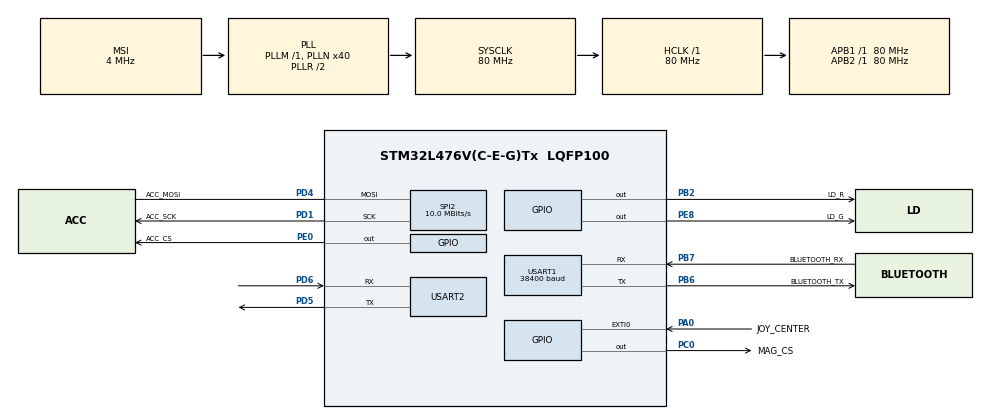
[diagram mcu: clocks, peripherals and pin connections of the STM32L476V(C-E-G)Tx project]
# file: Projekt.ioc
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Dma.Request0=USART2_RX
Dma.Request1=USART2_TX
Dma.Request2=USART1_RX
Dma.Request3=USART1_TX
Dma.USART1_RX.2.Direction=DMA_PERIPH_TO_MEMORY
Dma.USART1_RX.2.Instance=DMA2_Channel7
Dma.USART1_RX.2.MemDataAlignment=DMA_MDATAALIGN_BYTE
Dma.USART1_RX.2.MemInc=DMA_MINC_ENABLE
Dma.USART1_RX.2.Mode=DMA_NORMAL
Dma.USART1_RX.2.PeriphDataAlignment=DMA_PDATAALIGN_BYTE
Dma.USART1_RX.2.PeriphInc=DMA_PINC_DISABLE
Dma.USART1_RX.2.Priority=DMA_PRIORITY_LOW
Dma.USART1_TX.3.Direction=DMA_MEMORY_TO_PERIPH
Dma.USART1_TX.3.Instance=DMA2_Channel6
Dma.USART1_TX.3.MemDataAlignment=DMA_MDATAALIGN_BYTE
Dma.USART1_TX.3.MemInc=DMA_MINC_ENABLE
Dma.USART1_TX.3.Mode=DMA_NORMAL
Dma.USART1_TX.3.PeriphDataAlignment=DMA_PDATAALIGN_BYTE
Dma.USART1_TX.3.PeriphInc=DMA_PINC_DISABLE
Dma.USART1_TX.3.Priority=DMA_PRIORITY_LOW
Dma.USART2_RX.0.Direction=DMA_PERIPH_TO_MEMORY
Dma.USART2_RX.0.Instance=DMA1_Channel6
Dma.USART2_RX.0.MemDataAlignment=DMA_MDATAALIGN_BYTE
Dma.USART2_RX.0.MemInc=DMA_MINC_ENABLE
Dma.USART2_RX.0.Mode=DMA_CIRCULAR
Dma.USART2_RX.0.PeriphDataAlignment=DMA_PDATAALIGN_BYTE
Dma.USART2_RX.0.PeriphInc=DMA_PINC_DISABLE
Dma.USART2_RX.0.Priority=DMA_PRIORITY_LOW
Dma.USART2_TX.1.Direction=DMA_MEMORY_TO_PERIPH
Dma.USART2_TX.1.Instance=DMA1_Channel7
Dma.USART2_TX.1.MemDataAlignment=DMA_MDATAALIGN_BYTE
Dma.USART2_TX.1.MemInc=DMA_MINC_ENABLE
Dma.USART2_TX.1.Mode=DMA_CIRCULAR
Dma.USART2_TX.1.PeriphDataAlignment=DMA_PDATAALIGN_BYTE
Dma.USART2_TX.1.PeriphInc=DMA_PINC_DISABLE
Dma.USART2_TX.1.Priority=DMA_PRIORITY_LOW
Mcu.Family=STM32L4
Mcu.Name=STM32L476V(C-E-G)Tx
Mcu.Package=LQFP100
NVIC.DMA1_Channel6_IRQn=true\:0\:0\:false\:false\:true\:false
NVIC.DMA1_Channel7_IRQn=true\:0\:0\:false\:false\:true\:false
NVIC.DMA2_Channel6_IRQn=true\:0\:0\:false\:false\:true\:false
NVIC.DMA2_Channel7_IRQn=true\:0\:0\:false\:false\:true\:false
NVIC.EXTI0_IRQn=true\:0\:0\:false\:false\:true\:true
NVIC.PriorityGroup=NVIC_PRIORITYGROUP_4
NVIC.RCC_IRQn=true\:0\:0\:false\:false\:true\:true
NVIC.USART1_IRQn=true\:0\:0\:false\:false\:true\:true
NVIC.USART2_IRQn=true\:0\:0\:false\:false\:true\:true
PA0.GPIO_Label=JOY_CENTER
PA0.Signal=GPXTI0
PB2.GPIO_Label=LD_R
PB2.Signal=GPIO_Output
PB6.GPIO_Label=BLUETOOTH_TX
PB6.Mode=Asynchronous
PB6.Signal=USART1_TX
PB7.GPIO_Label=BLUETOOTH_RX
PB7.Mode=Asynchronous
PB7.Signal=USART1_RX
PC0.GPIO_Label=MAG_CS
PC0.Signal=GPIO_Output
PC14-OSC32_IN\ (PC14).Mode=LSE-External-Oscillator
PC14-OSC32_IN\ (PC14).Signal=RCC_OSC32_IN
PC15-OSC32_OUT\ (PC15).Mode=LSE-External-Oscillator
PC15-OSC32_OUT\ (PC15).Signal=RCC_OSC32_OUT
PD1.GPIO_Label=ACC_SCK
PD1.GPIO_PuPd=GPIO_NOPULL
PD1.Mode=Simplex_Bidirectional_Master
PD1.Signal=SPI2_SCK
PD4.GPIO_Label=ACC_MOSI
PD4.GPIO_PuPd=GPIO_NOPULL
PD4.Mode=Simplex_Bidirectional_Master
PD4.Signal=SPI2_MOSI
PD5.Mode=Asynchronous
PD5.Signal=USART2_TX
PD6.Mode=Asynchronous
PD6.Signal=USART2_RX
PE0.GPIO_Label=ACC_CS
PE0.Signal=GPIO_Output
PE8.GPIO_Label=LD_G
PE8.Signal=GPIO_Output
PH0-OSC_IN\ (PH0).Mode=HSE-External-Oscillator
PH0-OSC_IN\ (PH0).Signal=RCC_OSC_IN
PH1-OSC_OUT\ (PH1).Mode=HSE-External-Oscillator
PH1-OSC_OUT\ (PH1).Signal=RCC_OSC_OUT
ProjectManager.HeapSize=0x200
ProjectManager.StackSize=0x400
ProjectManager.TargetToolchain=TrueSTUDIO
RCC.ADCFreq_Value=48000000
RCC.AHBFreq_Value=80000000
RCC.APB1Freq_Value=80000000
RCC.APB1TimFreq_Value=80000000
RCC.APB2Freq_Value=80000000
RCC.APB2TimFreq_Value=80000000
RCC.CortexFreq_Value=80000000
RCC.HCLKFreq_Value=80000000
RCC.HSE_VALUE=8000000
RCC.HSI_VALUE=16000000
RCC.MSI_VALUE=4000000
RCC.PLLN=40
RCC.PLLSAI1N=24
RCC.PREFETCH_ENABLE=1
RCC.SYSCLKFreq_VALUE=80000000
RCC.SYSCLKSource=RCC_SYSCLKSOURCE_PLLCLK
RCC.USBFreq_Value=48000000
RCC.VCOOutputFreq_Value=160000000
SPI2.BaudRatePrescaler=SPI_BAUDRATEPRESCALER_8
SPI2.CLKPhase=SPI_PHASE_1EDGE
SPI2.CLKPolarity=SPI_POLARITY_HIGH
SPI2.CRCCalculation=SPI_CRCCALCULATION_DISABLE
SPI2.CalculateBaudRate=10.0 MBits/s
SPI2.DataSize=SPI_DATASIZE_8BIT
SPI2.Direction=SPI_DIRECTION_1LINE
SPI2.Mode=SPI_MODE_MASTER
SPI2.VirtualType=VM_MASTER
USART1.BaudRate=38400
USART1.VirtualMode-Asynchronous=VM_ASYNC
USART1.WordLength=WORDLENGTH_8B
USART2.VirtualMode-Asynchronous=VM_ASYNC
USART2.WordLength=WORDLENGTH_8B
board=32L476GDISCOVERY

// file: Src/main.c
/**
  ******************************************************************************
  * @file           : main.c
  * @brief          : Main program body
  ******************************************************************************
  ** This notice applies to any and all portions of this file
  * that are not between comment pairs USER CODE BEGIN and
  * USER CODE END. Other portions of this file, whether
  * inserted by the user or by software development tools
  * are owned by their respective copyright owners.
  *
  * COPYRIGHT(c) 2018 STMicroelectronics
  *
  * Redistribution and use in source and binary forms, with or without modification,
  * are permitted provided that the following conditions are met:
  *   1. Redistributions of source code must retain the above copyright notice,
  *      this list of conditions and the following disclaimer.
  *   2. Redistributions in binary form must reproduce the above copyright notice,
  *      this list of conditions and the following disclaimer in the documentation
  *      and/or other materials provided with the distribution.
  *   3. Neither the name of STMicroelectronics nor the names of its contributors
  *      may be used to endorse or promote products derived from this software
  *      without specific prior written permission.
  *
  * THIS SOFTWARE IS PROVIDED BY THE COPYRIGHT HOLDERS AND CONTRIBUTORS "AS IS"
  * AND ANY EXPRESS OR IMPLIED WARRANTIES, INCLUDING, BUT NOT LIMITED TO, THE
  * IMPLIED WARRANTIES OF MERCHANTABILITY AND FITNESS FOR A PARTICULAR PURPOSE ARE
  * DISCLAIMED. IN NO EVENT SHALL THE COPYRIGHT HOLDER OR CONTRIBUTORS BE LIABLE
  * FOR ANY DIRECT, INDIRECT, INCIDENTAL, SPECIAL, EXEMPLARY, OR CONSEQUENTIAL
  * DAMAGES (INCLUDING, BUT NOT LIMITED TO, PROCUREMENT OF SUBSTITUTE GOODS OR
  * SERVICES; LOSS OF USE, DATA, OR PROFITS; OR BUSINESS INTERRUPTION) HOWEVER
  * CAUSED AND ON ANY THEORY OF LIABILITY, WHETHER IN CONTRACT, STRICT LIABILITY,
  * OR TORT (INCLUDING NEGLIGENCE OR OTHERWISE) ARISING IN ANY WAY OUT OF THE USE
  * OF THIS SOFTWARE, EVEN IF ADVISED OF THE POSSIBILITY OF SUCH DAMAGE.
  *
  ******************************************************************************
  */
#include "main.h"
#include "stm32l4xx_hal.h"
#include "dma.h"
#include "spi.h"
#include "usart.h"
#include "gpio.h"

/* USER CODE BEGIN Includes */
#include <stdio.h>
#include <math.h>
#include <stm32l476g_discovery_compass.h>
/* USER CODE END Includes */

/* USER CODE BEGIN PV */
/* Private variables ---------------------------------------------------------*/

#define CTRL_REG1_A 0x20
#define CTRL_REG4_A 0x23

#define OUT_X_L_A 0x28
#define OUT_X_H_A 0x29
#define OUT_Y_L_A 0x2A
#define OUT_Y_H_A 0x2B
#define OUT_Z_L_A 0x2C
#define OUT_Z_H_A 0x2D

uint8_t BluetoothData;

struct ACC_Data{
	float XAxis;
	float YAxis;
	float ZAxis;
}Axis_Data;
int8_t Roll=0;
int8_t Pitch=0;

int start=0;

/* USER CODE END PV */

void SystemClock_Config(void);

/* USER CODE BEGIN PFP */
/* Private function prototypes -----------------------------------------------*/
float square(float arg){
	return (arg)*(arg);
}

void HAL_GPIO_EXTI_Callback(uint16_t GPIO_Pin)
{
	uint8_t breaking[2]={0,0};
  if(GPIO_Pin==JOY_CENTER_Pin){
	  if(start==0){
		  HAL_GPIO_WritePin(LD_R_GPIO_Port,LD_R_Pin,GPIO_PIN_SET);
		  start=1;
	  }
	  else {
		  HAL_GPIO_WritePin(LD_R_GPIO_Port,LD_R_Pin,GPIO_PIN_RESET);
		  start=0;
		  HAL_UART_Transmit(&huart1,&breaking,2,50);
	  }
  }
}

void Convert(struct ACC_Data* ptrData,int8_t* ptrRoll,int8_t* ptrPitch){
	float rollAngle = atanf(ptrData->XAxis/(sqrt(square(ptrData->YAxis)+square(ptrData->ZAxis))))*180.0/ M_PI;
	float pitchAngle = atanf(ptrData->YAxis/(sqrt(square(ptrData->XAxis)+square(ptrData->ZAxis))))*180.0/ M_PI;

	*ptrRoll = (int8_t) rollAngle;
	*ptrPitch = (int8_t) pitchAngle;
}

/* USER CODE END PFP */

int main(void)
{

  /* MCU Configuration----------------------------------------------------------*/

  /* Reset of all peripherals, Initializes the Flash interface and the Systick. */
  HAL_Init();

  /* Configure the system clock */
  SystemClock_Config();

  /* Initialize all configured peripherals */
  MX_GPIO_Init();
  MX_DMA_Init();
  MX_USART1_UART_Init();
  MX_USART2_UART_Init();
  MX_SPI2_Init();
  /* USER CODE BEGIN 2 */
  COMPASS_StatusTypeDef stat = BSP_COMPASS_Init();

  int16_t data[3];
  uint8_t sendData[2];

  /* USER CODE END 2 */

  /* Infinite loop */
  /* USER CODE BEGIN WHILE */
  while (1)
  {

	  //1. Reading data
	  BSP_COMPASS_AccGetXYZ(&data);
	  Axis_Data.XAxis=(float)data[0];
	  Axis_Data.YAxis=(float)data[1];
	  Axis_Data.ZAxis=(float)data[2];
	  //2.Converting to Roll and Pitch Angle
	  Convert(&Axis_Data,&Roll,&Pitch);
	  //3. Sending
	  sendData[0]=Roll;
	  sendData[1]=Pitch;

	  if(start==1)HAL_UART_Transmit(&huart1,&sendData,2,50);
	  HAL_Delay(50);

  /* USER CODE END WHILE */

  }

}

void SystemClock_Config(void)
{

  RCC_OscInitTypeDef RCC_OscInitStruct;
  RCC_ClkInitTypeDef RCC_ClkInitStruct;
  RCC_PeriphCLKInitTypeDef PeriphClkInit;

    /**Configure LSE Drive Capability
    */
  HAL_PWR_EnableBkUpAccess();

  __HAL_RCC_LSEDRIVE_CONFIG(RCC_LSEDRIVE_LOW);

    /**Initializes the CPU, AHB and APB busses clocks
    */
  RCC_OscInitStruct.OscillatorType = RCC_OSCILLATORTYPE_LSE|RCC_OSCILLATORTYPE_MSI;
  RCC_OscInitStruct.LSEState = RCC_LSE_ON;
  RCC_OscInitStruct.MSIState = RCC_MSI_ON;
  RCC_OscInitStruct.MSICalibrationValue = 0;
  RCC_OscInitStruct.MSIClockRange = RCC_MSIRANGE_6;
  RCC_OscInitStruct.PLL.PLLState = RCC_PLL_ON;
  RCC_OscInitStruct.PLL.PLLSource = RCC_PLLSOURCE_MSI;
  RCC_OscInitStruct.PLL.PLLM = 1;
  RCC_OscInitStruct.PLL.PLLN = 40;
  RCC_OscInitStruct.PLL.PLLP = RCC_PLLP_DIV7;
  RCC_OscInitStruct.PLL.PLLQ = RCC_PLLQ_DIV2;
  RCC_OscInitStruct.PLL.PLLR = RCC_PLLR_DIV2;
  if (HAL_RCC_OscConfig(&RCC_OscInitStruct) != HAL_OK)
  {
    _Error_Handler(__FILE__, __LINE__);
  }

    /**Initializes the CPU, AHB and APB busses clocks
    */
  RCC_ClkInitStruct.ClockType = RCC_CLOCKTYPE_HCLK|RCC_CLOCKTYPE_SYSCLK
                              |RCC_CLOCKTYPE_PCLK1|RCC_CLOCKTYPE_PCLK2;
  RCC_ClkInitStruct.SYSCLKSource = RCC_SYSCLKSOURCE_PLLCLK;
  RCC_ClkInitStruct.AHBCLKDivider = RCC_SYSCLK_DIV1;
  RCC_ClkInitStruct.APB1CLKDivider = RCC_HCLK_DIV1;
  RCC_ClkInitStruct.APB2CLKDivider = RCC_HCLK_DIV1;

  if (HAL_RCC_ClockConfig(&RCC_ClkInitStruct, FLASH_LATENCY_4) != HAL_OK)
  {
    _Error_Handler(__FILE__, __LINE__);
  }

  PeriphClkInit.PeriphClockSelection = RCC_PERIPHCLK_USART1|RCC_PERIPHCLK_USART2;
  PeriphClkInit.Usart1ClockSelection = RCC_USART1CLKSOURCE_PCLK2;
  PeriphClkInit.Usart2ClockSelection = RCC_USART2CLKSOURCE_PCLK1;
  if (HAL_RCCEx_PeriphCLKConfig(&PeriphClkInit) != HAL_OK)
  {
    _Error_Handler(__FILE__, __LINE__);
  }

    /**Configure the main internal regulator output voltage
    */
  if (HAL_PWREx_ControlVoltageScaling(PWR_REGULATOR_VOLTAGE_SCALE1) != HAL_OK)
  {
    _Error_Handler(__FILE__, __LINE__);
  }

    /**Configure the Systick interrupt time
    */
  HAL_SYSTICK_Config(HAL_RCC_GetHCLKFreq()/1000);

    /**Configure the Systick
    */
  HAL_SYSTICK_CLKSourceConfig(SYSTICK_CLKSOURCE_HCLK);

    /**Enable MSI Auto calibration
    */
  HAL_RCCEx_EnableMSIPLLMode();

  /* SysTick_IRQn interrupt configuration */
  HAL_NVIC_SetPriority(SysTick_IRQn, 0, 0);
}

void _Error_Handler(char *file, int line)
{
  while(1)
  {
  }
}

/************************ (C) COPYRIGHT STMicroelectronics *****END OF FILE****/
